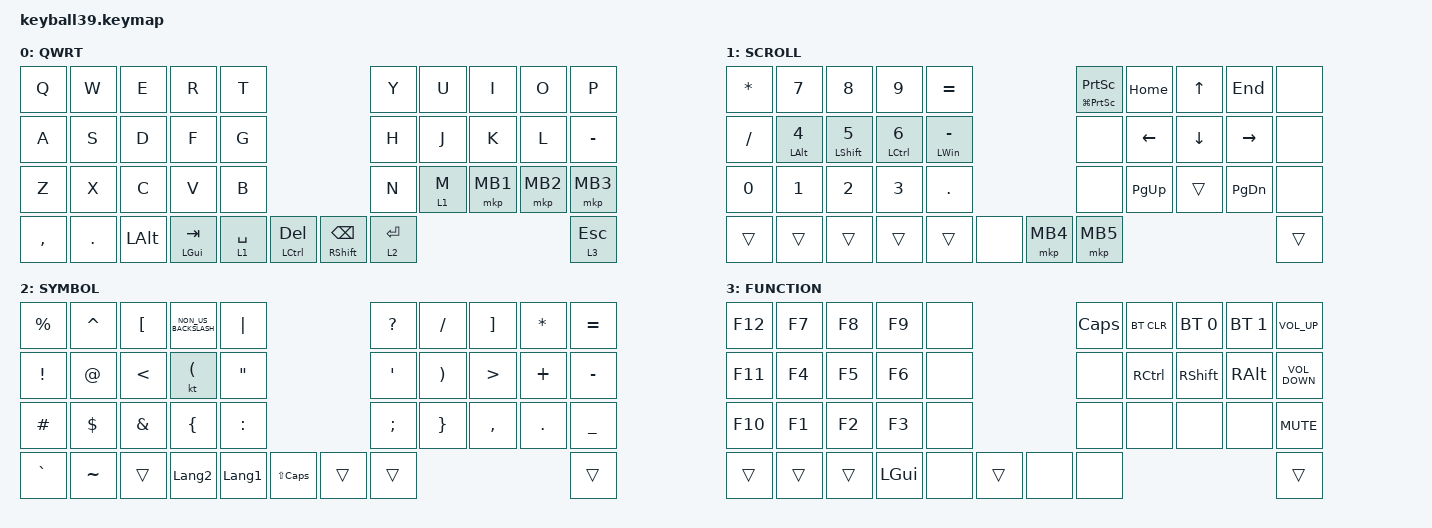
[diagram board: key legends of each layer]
#define DEFAULT 0
#define NUM     1
#define SYM     2
#define FUN     3
#define MOUSE   4
#define SCROLL  5
#define SNIPE   6

#include <behaviors/mouse_keys.dtsi>
#include <dt-bindings/zmk/mouse.h>
#include <behaviors.dtsi>
#include <dt-bindings/zmk/bt.h>
#include <dt-bindings/zmk/keys.h>

&lt {
    tapping-term-ms = <240>;
    flavor = "balanced";
    quick-tap-ms = <150>;
};

&mt {
    tapping-term-ms = <200>;
    flavor = "tap-preferred";
    quick-tap-ms = <150>;
};

&caps_word { continue-list = <UNDERSCORE MINUS>; };

/ {
    // custom shift using mod-morph 

    behaviors {
        cmqus: comma_question {
            compatible = "zmk,behavior-mod-morph";
            label = "COMMA_QUESTION";
            #binding-cells = <0>;
            bindings = <&kp COMMA>, <&kp QUESTION>;

            mods = <(MOD_LSFT|MOD_RSFT)>;
        };

        dtsmi: dot_semi {
            compatible = "zmk,behavior-mod-morph";
            label = "DOT_SEMI";
            #binding-cells = <0>;
            bindings = <&kp DOT>, <&kp SEMI>;

            mods = <(MOD_LSFT|MOD_RSFT)>;
        };
    };

    macros {
        Hiragana: Hiragana {
            compatible = "zmk,behavior-macro";
            #binding-cells = <0>;
            bindings = <&kp LC(SPACE)>;
            label = "HIRAGANA";
        };
    };

    keymap {
        compatible = "zmk,keymap";

        default_layer {
            label = "QWRT";
            bindings = <
&kp Q      &kp W       &kp E         &kp R             &kp T                                                            &kp Y        &kp U    &kp I     &kp O     &kp P
&kp A      &kp S       &kp D         &kp F             &kp G                                                            &kp H        &kp J    &kp K     &kp L     &kp MINUS
&kp Z      &kp X       &kp C         &kp V             &kp B                                                            &kp N        &lt 1 M  &mkp MB1  &mkp MB2  &mkp MB3
&kp COMMA  &kp PERIOD  &kp LEFT_ALT  &mt LEFT_GUI TAB  &lt 1 SPACE  &mt LEFT_CONTROL DELETE  &mt RIGHT_SHIFT BACKSPACE  &lt 2 ENTER                               &lt 3 ESCAPE
            >;
        };

        scroll_layer {
            label = "SCROLL";
            bindings = <
&kp ASTERISK  &kp NUMBER_7           &kp NUMBER_8             &kp NUMBER_9               &kp EQUAL                            &mt LG(PRINTSCREEN) PRINTSCREEN  &kp HOME   &kp UP_ARROW    &kp END        &none
&kp SLASH     &mt LEFT_ALT NUMBER_4  &mt LEFT_SHIFT NUMBER_5  &mt LEFT_CONTROL NUMBER_6  &mt LEFT_WIN MINUS                   &none                            &kp LEFT   &kp DOWN_ARROW  &kp RIGHT      &none
&kp NUMBER_0  &kp NUMBER_1           &kp NUMBER_2             &kp NUMBER_3               &kp PERIOD                           &none                            &kp PG_UP  &trans          &kp PAGE_DOWN  &none
&trans        &trans                 &trans                   &trans                     &trans              &none  &mkp MB4  &mkp MB5                                                                   &trans
            >;
        };

        symbol_layer {
            label = "SYMBOL";
            bindings = <
&kp PERCENT      &kp CARET    &kp LEFT_BRACKET  &kp NON_US_BACKSLASH  &kp PIPE                                 &kp QUESTION   &kp SLASH              &kp RIGHT_BRACKET  &kp ASTERISK  &kp EQUAL
&kp EXCLAMATION  &kp AT_SIGN  &kp LESS_THAN     &kt LEFT_PARENTHESIS  &kp DOUBLE_QUOTES                        &kp SQT        &kp RIGHT_PARENTHESIS  &kp GREATER_THAN   &kp PLUS      &kp MINUS
&kp HASH         &kp DOLLAR   &kp AMPERSAND     &kp LEFT_BRACE        &kp COLON                                &kp SEMICOLON  &kp RIGHT_BRACE        &kp COMMA          &kp PERIOD    &kp UNDERSCORE
&kp GRAVE        &kp TILDE    &trans            &kp LANGUAGE_2        &kp LANGUAGE_1     &kp LS(CLCK)  &trans  &trans                                                                 &trans
            >;
        };

        function_layer {
            label = "FUNCTION";
            bindings = <
&kp F12  &kp F7  &kp F8  &kp F9        &none                 &kp CLCK  &bt BT_CLR  &bt BT_SEL 0     &bt BT_SEL 1   &kp C_VOL_UP
&kp F11  &kp F4  &kp F5  &kp F6        &none                 &none     &kp RCTRL   &kp RIGHT_SHIFT  &kp RIGHT_ALT  &kp C_VOLUME_DOWN
&kp F10  &kp F1  &kp F2  &kp F3        &none                 &none     &none       &none            &none          &kp C_MUTE
&trans   &trans  &trans  &kp LEFT_GUI  &none  &trans  &none  &none                                                 &trans
            >;
        };
    };
};
